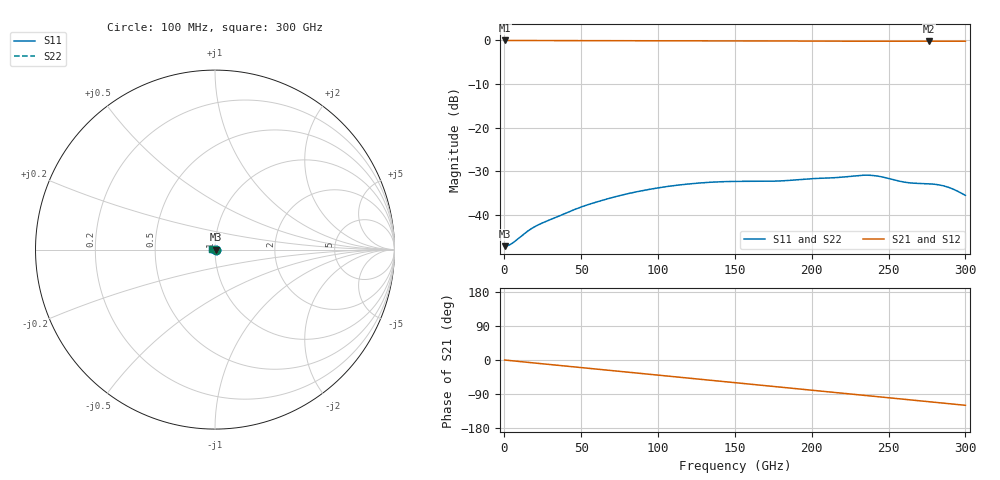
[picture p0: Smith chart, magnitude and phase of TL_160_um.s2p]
#  Hz  S  RI  R  50
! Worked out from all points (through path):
!   3000 points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, 100 MHz to 300 GHz, reference 50 ohm
!   highest |S21| = -0.04 dB at 100 MHz (marker M1); lowest = -0.2 dB at 276.5 GHz (marker M2)
!   group delay of S21, straight-line fit = 1.11 ps
!   lowest |S11| = -47.1 dB at 100 MHz (marker M3), VSWR 1.01, Z = 50.4 - j6.13e-05 ohm
!   |S11| at or under -10 dB: start of sweep to end of sweep
!   |S22| runs from -47.1 to -30.9 dB; largest |S21 - S12| = 2.6e-07
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1e8  0.00441 -6.08e-07  0.9957 -0.000726  0.9957 -0.000726  0.00441 -6.09e-07
2.3e9  0.00448 -2.44e-05  0.9955 -0.0167  0.9955 -0.0167  0.00448 -2.44e-05
4.7e9  0.00471 -0.000114  0.9947 -0.034  0.9947 -0.034  0.00471 -0.000114
1.49e10  0.0062 -0.00199  0.9877 -0.1052  0.9877 -0.1052  0.0062 -0.00199
2.13e10  0.00649 -0.00399  0.9817 -0.1488  0.9817 -0.1488  0.00649 -0.00399
5.01e10  0.00408 -0.0117  0.931 -0.3411  0.931 -0.3411  0.00408 -0.0117
7.52e10  -0.00064 -0.0167  0.8565 -0.4974  0.8565 -0.4974  -0.00064 -0.0167
1.001e11  -0.00657 -0.0194  0.7569 -0.6372  0.7569 -0.6372  -0.00657 -0.0194
1.254e11  -0.0126 -0.0195  0.6325 -0.7595  0.6325 -0.7595  -0.0126 -0.0195
1.501e11  -0.017 -0.0174  0.4916 -0.8557  0.4916 -0.8557  -0.017 -0.0174
1.749e11  -0.0191 -0.0153  0.3351 -0.9249  0.3351 -0.9249  -0.0191 -0.0153
2.001e11  -0.0219 -0.0142  0.169 -0.9647  0.169 -0.9647  -0.0219 -0.0142
2.159e11  -0.0237 -0.0126  0.0632 -0.9753  0.0632 -0.9753  -0.0237 -0.0126
2.352e11  -0.0271 -0.00911  -0.064 -0.9739  -0.064 -0.9739  -0.0271 -0.00911
2.422e11  -0.0273 -0.00636  -0.1107 -0.9705  -0.1107 -0.9705  -0.0273 -0.00636
2.501e11  -0.026 -0.00374  -0.1641 -0.9636  -0.1641 -0.9636  -0.026 -0.00374
2.623e11  -0.0234 -0.00243  -0.2457 -0.9453  -0.2457 -0.9453  -0.0234 -0.00243
2.765e11  -0.0228 -0.00112  -0.3357 -0.9154  -0.3357 -0.9154  -0.0228 -0.00112
2.825e11  -0.0222 0.000278  -0.3728 -0.9015  -0.3728 -0.9015  -0.0222 0.000279
2.878e11  -0.0211 0.00159  -0.406 -0.8881  -0.406 -0.8881  -0.0211 0.00159
2.924e11  -0.0195 0.00242  -0.4349 -0.8749  -0.4349 -0.8749  -0.0195 0.00242
3e11  -0.0166 0.00248  -0.4815 -0.8496  -0.4815 -0.8496  -0.0166 0.00248
